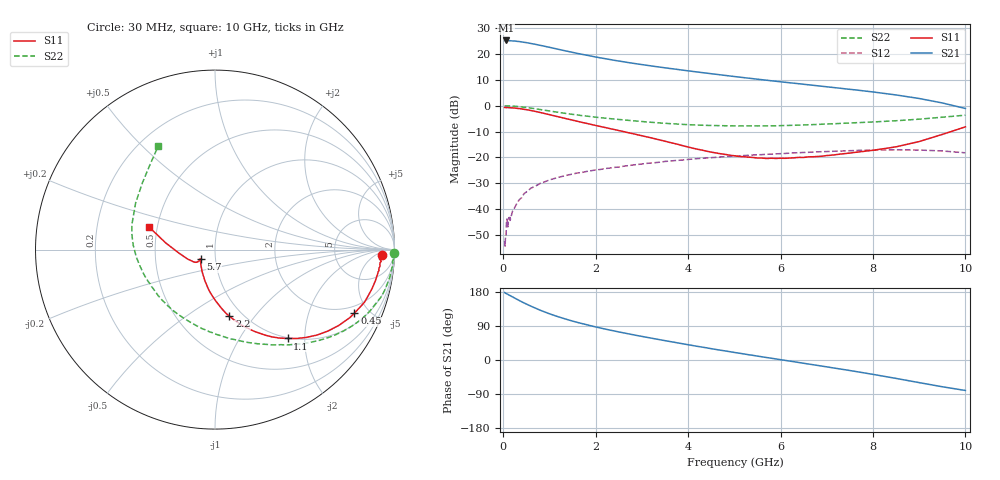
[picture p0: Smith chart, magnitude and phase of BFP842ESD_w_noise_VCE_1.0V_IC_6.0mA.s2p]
! Infineon Technologies  Discrete & RF Semiconductors
! BFP842ESD
! VCE =  1.0 V,  IC =  6.0 mA
! Common Emitter S-Parameters:  May 2012
# GHz  S  MA  R  50
!  f  S11  S21  S12  S22
! GHz  MAG  ANG  MAG  ANG  MAG  ANG  MAG  ANG
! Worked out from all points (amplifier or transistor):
!   99 points, 30 MHz to 10 GHz, reference 50 ohm
!   highest |S21| = 25.3 dB at 60 MHz (marker M1)
!   |S21| within 3 dB of that: start of sweep to 1.088 GHz
!   unconditionally stable (mu >= 1): 3.126 GHz to end of sweep
!   at 350 MHz: K = 0.17, MSG = 30.6 dB, |S12| = -36.4 dB
!   at 3.5 GHz: K = 1.05, MAG = 16.8 dB, |S12| = -21.6 dB
!   at 10 GHz: K = 2.17, MAG = 2.5 dB, |S12| = -18.2 dB
!   lowest NFmin = 0.46 dB at 450 MHz
!   S11 on the Smith chart (normalised r, x): 30 MHz: 23, -9; 450 MHz: 1.55, -4.04; 1.1 GHz: 0.99, -1.65; 2.2 GHz: 0.87, -0.76; 5.7 GHz: 0.85, -0.09; 10 GHz: 0.45, +0.14
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0.03  0.929 -1.7  18.28 178.0  0.0024 25.5  0.9965 -1.2
0.05  0.921 -3.2  18.17 176.2  0.003 -51.8  0.9881 -2.5
0.06  0.917 -3.2  18.45 175.6  0.003 -142.8  0.9964 -2.3
0.08  0.922 -4.6  18.33 174.3  0.0064 61.3  0.9928 -3.5
0.09  0.9226 -5.3  18.09 174.0  0.0052 62.6  0.9909 -3.8
0.11  0.9202 -6.3  18.39 172.3  0.0056 97.7  0.9925 -4.9
0.25  0.9018 -13.9  17.99 163.3  0.0107 81.8  0.9782 -11.3
0.45  0.8536 -24.5  16.99 150.6  0.0198 71.8  0.9371 -19.9
0.6  0.8088 -31.5  16.11 142.0  0.0253 69.1  0.9019 -25.7
0.8  0.741 -40.0  14.84 131.4  0.0313 62.1  0.8463 -32.5
1.1  0.6397 -50.7  12.99 117.8  0.0388 57.0  0.7678 -41.3
1.4  0.5526 -59.6  11.34 106.2  0.0455 52.1  0.7014 -48.6
1.7  0.4769 -67.1  9.957 96.3  0.0509 47.6  0.6451 -55.2
2.2  0.3802 -77.8  8.204 81.8  0.0608 42.7  0.5767 -65.5
2.8  0.2889 -88.8  6.683 66.9  0.071 35.9  0.5131 -77.7
3.4  0.2162 -100.7  5.6 53.3  0.0809 29.8  0.4637 -91.6
4.2  0.144 -119.6  4.515 36.1  0.0946 20.6  0.4225 -112.0
5.1  0.1042 -139.9  3.603 18.1  0.1069 10.2  0.4069 -134.3
5.7  0.0951 -146.5  3.128 6.5  0.1148 3.1  0.4071 -147.6
6.7  0.1027 -145.8  2.499 -12.4  0.1267 -9.2  0.4315 -169.7
8.5  0.1601 -160.5  1.621 -48.6  0.1397 -37.2  0.5129 149.6
10  0.3908 160.9  0.886 -80.4  0.1225 -66.1  0.6575 118.8
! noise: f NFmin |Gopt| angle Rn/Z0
0.45  0.46  0.3  2  0.12
0.9  0.48  0.31  9  0.11
1.5  0.5  0.34  19  0.11
1.9  0.52  0.33  26  0.1
2.4  0.54  0.29  39  0.1
3.5  0.64  0.21  81  0.08
4  0.68  0.17  104  0.08
5  0.73  0.17  122  0.07
5.5  0.84  0.16  147  0.08
6  0.97  0.14  161  0.08
